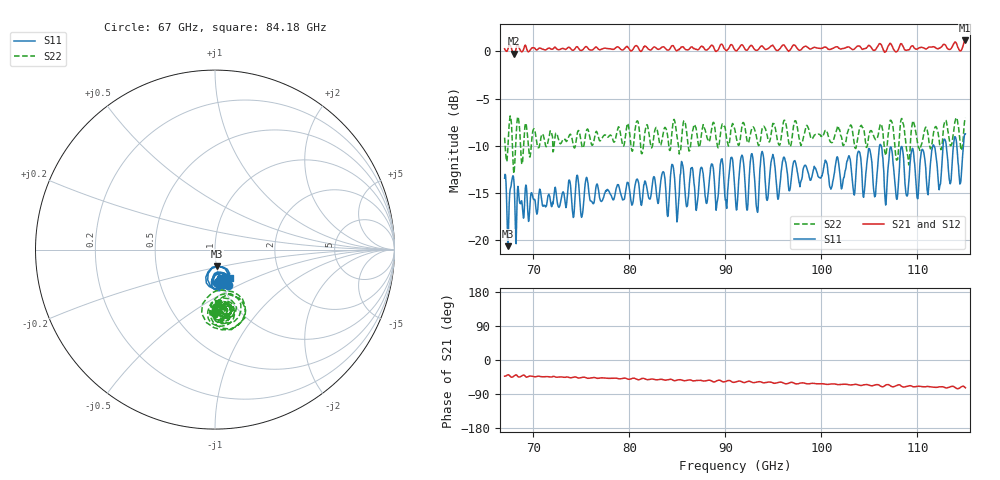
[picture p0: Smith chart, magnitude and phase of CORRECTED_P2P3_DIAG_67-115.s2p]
! Generated by Phase II Calibration
# Hz S RI R 50
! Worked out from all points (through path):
!   1001 points, 67 GHz to 115 GHz, reference 50 ohm
!   highest |S21| = 1.15 dB at 115 GHz (marker M1); lowest = -0.2 dB at 67.96 GHz (marker M2)
!   group delay of S21, straight-line fit = 1.84 ps
!   lowest |S11| = -20.6 dB at 67.34 GHz (marker M3), VSWR 1.20, Z = 50.1 - j9.33 ohm
!   |S11| at or under -10 dB: start of sweep to 106.1 GHz; 106.2 GHz to 111.6 GHz (5.395 GHz wide, 4.95 % of centre); 111.7 GHz to 112.7 GHz (958.1 MHz wide, 0.854 % of centre)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
!   |S22| runs from -13.0 to -6.8 dB; largest |S21 - S12| = 0.0079
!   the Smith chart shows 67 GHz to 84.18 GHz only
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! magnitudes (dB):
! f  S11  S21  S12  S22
! 67 GHz  -13.5  0.3  0.3  -9.1
! 67.34 GHz  -20.6  0.2  0.2  -10.3
! 67.96 GHz  -13.6  -0.2  -0.3  -13.0
! 75.02 GHz  -17.6  0.1  0.1  -9.9
! 83.03 GHz  -16.0  0.2  0.2  -9.1
! 91 GHz  -14.9  0.1  0.2  -8.3
! 91.72 GHz  -11.0  0.7  0.7  -7.9
! 93.3 GHz  -16.9  0.1  0.1  -9.4
! 93.83 GHz  -10.6  0.6  0.5  -8.2
! 94.36 GHz  -15.8  0.3  0.3  -8.9
! 94.94 GHz  -10.9  0.7  0.6  -7.6
! 95.51 GHz  -15.6  0.1  0.1  -9.8
! 99.02 GHz  -13.3  0.3  0.3  -9.3
! 107 GHz  -11.5  0.7  0.7  -8.2
! 109.5 GHz  -10.3  0.6  0.6  -7.6
! 110 GHz  -15.6  0.3  0.3  -9.7
! 111.7 GHz  -9.9  0.5  0.5  -8.6
! 112.3 GHz  -14.4  0.3  0.3  -9.8
! 112.8 GHz  -9.3  0.7  0.7  -7.5
! 114.5 GHz  -14.0  0.0  0.1  -9.9
! 115 GHz  -8.7  1.2  1.1  -7.1
! 115 GHz  -8.7  1.2  1.1  -7.0
